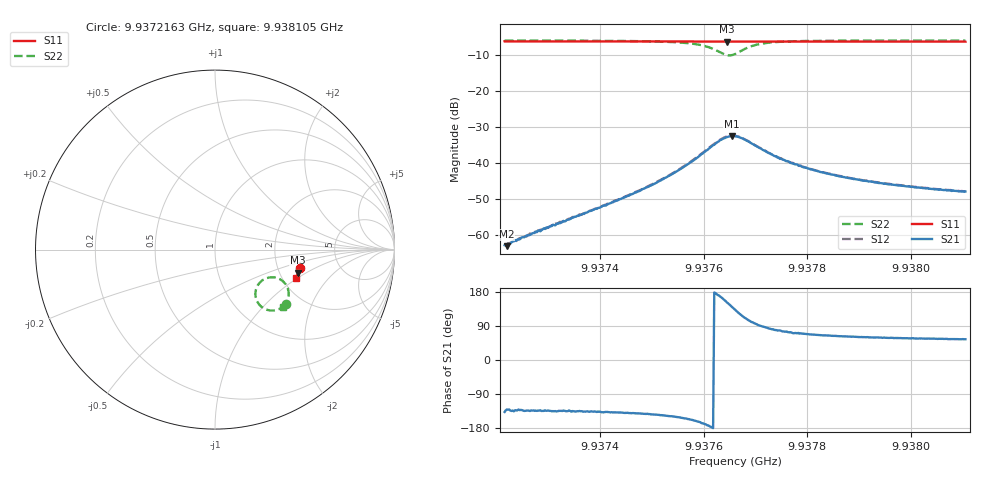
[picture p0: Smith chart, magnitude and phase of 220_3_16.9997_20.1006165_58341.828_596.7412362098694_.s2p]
#  HZ  S  RI  R  50.00
! Rohde & Schwarz Vector Network Analyzer
! Rohde-Schwarz,ZNB20-2Port,1311601062101988,3.16
! Created: UTC 3/20/2024, 11:01:56 PM
! freq[Hz]  re:S11  im:S11  re:S21  im:S21  re:S12  im:S12  re:S22  im:S22
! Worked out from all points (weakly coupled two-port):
!   401 points, 9.9372163 GHz to 9.938105 GHz, reference 50 ohm
!   highest |S21| = -32.49 dB at 9.937654 GHz (marker M1); lowest = -63.0 dB at 9.9372208 GHz (marker M2)
!   lowest |S11| = -6.4 dB at 9.9376451 GHz (marker M3), VSWR 2.84, Z = 126 - j42 ohm
!   |S11| at or under -10 dB: nowhere
!   |S22| runs from -10.2 to -6.1 dB; largest |S21 - S12| = 0.001
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9.93721632e9  0.4731 -0.1012  -0.000535 -0.000496  -0.000517 -0.000503  0.3937 -0.305
9.93722076e9  0.4731 -0.1015  -0.000459 -0.000538  -0.000533 -0.000521  0.3933 -0.3055
9.93723631e9  0.4728 -0.1026  -0.000582 -0.000634  -0.000607 -0.0006  0.3919 -0.3067
9.93726964e9  0.4723 -0.1049  -0.000734 -0.000772  -0.000729 -0.000796  0.3891 -0.3094
9.93736517e9  0.4701 -0.1114  -0.00138 -0.00138  -0.0014 -0.00133  0.3784 -0.3178
9.9374607e9  0.468 -0.1179  -0.00284 -0.00234  -0.00291 -0.00237  0.3615 -0.3288
9.93751402e9  0.4668 -0.1213  -0.00458 -0.00322  -0.00474 -0.00318  0.3439 -0.3359
9.93755845e9  0.4655 -0.1245  -0.00756 -0.00389  -0.00779 -0.00387  0.3167 -0.3395
9.93760067e9  0.4638 -0.1273  -0.0138 -0.00287  -0.0141 -0.0026  0.2672 -0.3245
9.93762955e9  0.4623 -0.1286  -0.0197 0.00341  -0.02 0.00412  0.2268 -0.2654
9.9376451e9  0.4616 -0.1288  -0.0202 0.0108  -0.0202 0.0114  0.2337 -0.2078
9.93765399e9  0.4616 -0.1289  -0.0184 0.0149  -0.0181 0.0156  0.2558 -0.178
9.93766065e9  0.4618 -0.1288  -0.0158 0.0174  -0.0155 0.0181  0.2788 -0.1628
9.93767176e9  0.462 -0.1292  -0.011 0.0194  -0.0104 0.0199  0.3204 -0.1543
9.93768509e9  0.4623 -0.1299  -0.00556 0.0194  -0.00514 0.0197  0.361 -0.1648
9.93771175e9  0.4625 -0.1319  0.000218 0.0157  0.00069 0.0158  0.4 -0.2039
9.93775841e9  0.4619 -0.1357  0.00283 0.0103  0.00311 0.0103  0.4107 -0.2512
9.9378095e9  0.4608 -0.1392  0.00316 0.00751  0.00332 0.00745  0.4063 -0.2766
9.93787838e9  0.4591 -0.1441  0.00294 0.00549  0.00305 0.00549  0.3986 -0.295
9.93795836e9  0.4571 -0.1492  0.00268 0.00433  0.00278 0.00434  0.3909 -0.3077
9.93801612e9  0.4557 -0.153  0.00249 0.00383  0.00258 0.0038  0.3861 -0.3143
9.93810499e9  0.4533 -0.1588  0.00233 0.0033  0.0024 0.0033  0.3796 -0.3224
